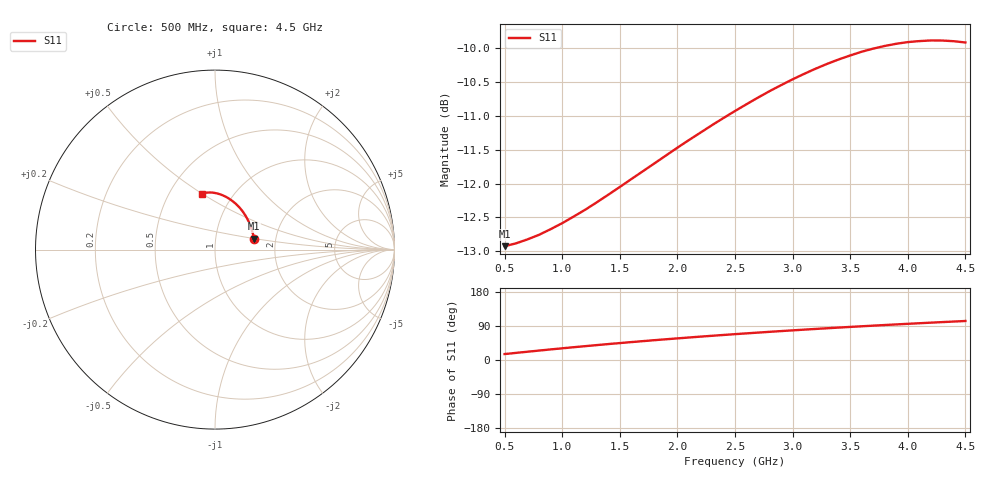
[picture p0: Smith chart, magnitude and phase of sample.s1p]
! Sample S-parameter file: series RL load (R=75, L=5nH, Z0=50)
! Generated for testing the npick web interface
# GHz S RI R 50
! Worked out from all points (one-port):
!   41 points, 500 MHz to 4.5 GHz, reference 50 ohm
!   lowest |S11| = -12.9 dB at 500 MHz (marker M1), VSWR 1.58, Z = 77 + j9.9 ohm
!   |S11| at or under -10 dB: start of sweep to 3.708 GHz
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0.5  0.2174 0.061
0.6  0.2148 0.0731
0.8  0.2088 0.097
1  0.2016 0.1204
1.2  0.193 0.1431
1.4  0.1831 0.165
1.5  0.1776 0.1756
1.7  0.1656 0.1959
1.8  0.1591 0.2056
2  0.1452 0.2241
2.1  0.1378 0.2328
2.3  0.1222 0.2491
2.5  0.1056 0.2639
2.7  0.0883 0.2771
2.8  0.0794 0.2831
3  0.0612 0.2937
3.2  0.0427 0.3025
3.3  0.0334 0.3062
3.4  0.0241 0.3094
3.5  0.0148 0.3121
3.6  0.0056 0.3144
3.7  -0.0036 0.3161
3.8  -0.0126 0.3173
3.9  -0.0216 0.318
4  -0.0304 0.3182
4.2  -0.0475 0.317
4.3  -0.0558 0.3156
4.5  -0.0716 0.3113
